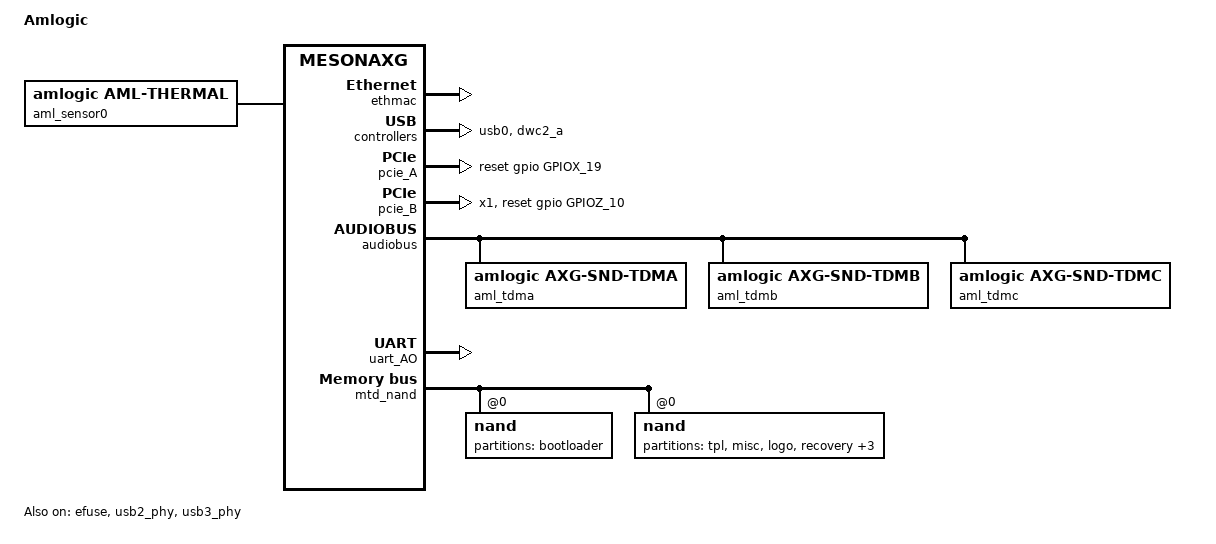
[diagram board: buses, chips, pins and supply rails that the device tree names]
// SPDX-License-Identifier: (GPL-2.0+ OR MIT)
/*
 * Copyright (c) 2019 Amlogic, Inc. All rights reserved.
 */

/dts-v1/;

#include "mesonaxg.dtsi"
/ {
	model = "Amlogic";
	amlogic-dt-id = "axg_s400_1g";
	compatible = "amlogic, axg";
	interrupt-parent = <&gic>;
	#address-cells = <2>;
	#size-cells = <2>;

	aliases {
		serial0 = &uart_AO;
		serial1 = &uart_A;
		i2c0 = &i2c0;
		i2c1 = &i2c1;
		i2c2 = &i2c2;
		i2c3 = &i2c3;
		i2c_AO = &i2c_AO;
	};

	memory@00000000 {
		device_type = "memory";
		linux,usable-memory = <0x0 0x000000 0x0 0x40000000>;
	};

	reserved-memory {
		#address-cells = <2>;
		#size-cells = <2>;
		ranges;
		/* global autoconfigured region for contiguous allocations */
		ramoops@0x07400000 {
			compatible = "ramoops";
			reg = <0x0 0x07400000 0x0 0x00100000>;
			record-size = <0x20000>;
			console-size = <0x40000>;
			ftrace-size = <0x80000>;
			pmsg-size = <0x20000>;
		};

		secmon_reserved:linux,secmon {
			compatible = "shared-dma-pool";
			reusable;
			size = <0x0 0x400000>;
			alignment = <0x0 0x400000>;
			alloc-ranges = <0x0 0x05000000 0x0 0x400000>;
		};

		secos_reserved:linux,secos {
			status = "disable";
			compatible = "amlogic, aml_secos_memory";
			reg = <0x0 0x05300000 0x0 0x2000000>;
			no-map;
		};
		fb_reserved:linux,meson-fb {
			//compatible = "amlogic, fb-memory";
			//reg = <0x0 0x3e000000 0x0 0x1f00000>;
			compatible = "shared-dma-pool";
			reusable;
			size = <0x0 0x2000000>;
			alignment = <0x0 0x400000>;
			alloc-ranges = <0x0 0x3e000000 0x0 0x2000000>;
		};
	};

	ethmac: ethernet@0xff3f0000 {
			compatible = "amlogic, gxbb-eth-dwmac";
			reg = <0x0 0xff3f0000 0x0 0x10000
			0x0 0xff634540 0x0 0x8
			0x0 0xff634558 0x0 0xc
			0x0 0xffd01008 0x0 0x4>;
			interrupts = <0 8 1>;
			pinctrl-names = "external_eth_pins";
			pinctrl-0 = <&external_eth_pins>;
			mc_val_internal_phy = <0x1800>;
			mc_val_external_phy = <0x1621>;
			interrupt-names = "macirq";
			//clocks = <&clkc CLKID_ETH_CORE>;
			//clock-names = "ethclk81";
			internal_phy=<0>;
	};

	aml_sensor0: aml-sensor@0 {
		compatible = "amlogic, aml-thermal";
		device_name = "thermal";
		#thermal-sensor-cells = <1>;
		cooling_devices {
			cpufreq_cool_cluster0 {
				min_state = <1000000>;
				dyn_coeff = <140>;
				cluster_id = <0>;
				node_name = "cpufreq_cool0";
				device_type = "cpufreq";
			};
			cpucore_cool_cluster0 {
				min_state = <1>;
				dyn_coeff = <0>;
				cluster_id = <0>;
				node_name = "cpucore_cool0";
				device_type = "cpucore";
			};
		};
		cpufreq_cool0:cpufreq_cool0 {
			#cooling-cells = <2>; /* min followed by max */
		};
		cpucore_cool0:cpucore_cool0 {
			#cooling-cells = <2>; /* min followed by max */
		};
	};
	thermal-zones {
		soc_thermal {
			polling-delay = <1000>;
			polling-delay-passive = <100>;
			sustainable-power = <1050>;

			thermal-sensors = <&aml_sensor0 3>;

			trips {
				switch_on: trip-point@0 {
					temperature = <70000>;
					hysteresis = <1000>;
					type = "passive";
				};
				control: trip-point@1 {
					temperature = <80000>;
					hysteresis = <1000>;
					type = "passive";
				};
				hot: trip-point@2 {
					temperature = <85000>;
					hysteresis = <5000>;
					type = "hot";
				};
				critical: trip-point@3 {
					temperature = <260000>;
					hysteresis = <1000>;
					type = "critical";
				};
			};

			cooling-maps {
				cpufreq_cooling_map {
					trip = <&control>;
					cooling-device = <&cpufreq_cool0 0 4>;
					contribution = <1024>;
				};
				cpucore_cooling_map {
					trip = <&control>;
					cooling-device = <&cpucore_cool0 0 3>;
					contribution = <1024>;
				};
			};
		};
	};

	usb2_phy: usb2phy@ffe09000 {
			compatible = "amlogic, amlogic-new-usb2";
			status = "okay";
			reg = <0x0 0xffe09000 0x0 0x80
				0x0 0xffd01008 0x0 0x4>;
			portnum = <4>;
	};

	usb3_phy: usb3phy@ffe09080 {
			compatible = "amlogic, amlogic-new-usb3";
			status = "okay";
			reg = <0x0 0xffe09080 0x0 0x20>;
			interrupts = <0 16 4>;
			portnum = <0>;
			otg = <1>;
			gpio-vbus-power = "GPIOAO_5";
			gpios = <&gpio_ao GPIOAO_5 GPIO_ACTIVE_HIGH>;
	};

	usb0: usb@ff500000 {
			compatible = "amlogic,meson-g12a-dwc3";
			status = "okay";
			#address-cells = <2>;
			#size-cells = <2>;
			ranges;

			clocks = <&clkc CLKID_CLK81_USB>;
			clock-names = "usb_general";

			dwc3: dwc3@ff500000 {
				compatible = "snps,dwc3";
				reg = <0x0 0xff500000 0x0 0x100000>;
				interrupts = <GIC_SPI 30 IRQ_TYPE_LEVEL_HIGH>;
				dr_mode = "host";
				maximum-speed = "high-speed";
				snps,dis_u2_susphy_quirk;
				snps,quirk-frame-length-adjustment;
				usb-phy = <&usb2_phy>, <&usb3_phy>;
				clocks = <&clkc CLKID_CLK81_USB>;
				clock-names = "usb_general";
				cpu-type = "gxl";
				/*usb5v-supply = <&ao_5v>;*/
				/*usb3v3-supply = <&vddao_3v3>;*/
				/*usb1v8-supply = <&vddio_ao1v8>;*/
			};
	};

	dwc2_a {
		compatible = "amlogic,dwc2";
		device_name = "dwc2_a";
		reg = <0x0 0xff400000 0x0 0x40000>;
		status = "okay";
		interrupts = <0 31 4>;
		pl-periph-id = <0>; /** lm name */
		clock-src = "usb0"; /** clock src */
		port-id = <0>;  /** ref to mach/usb.h */
		port-type = <2>;        /** 0: otg, 1: host, 2: slave */
		port-speed = <0>; /** 0: default, high, 1: full */
		port-config = <0>; /** 0: default */
		/*0:default,1:single,2:incr,3:incr4,4:incr8,5:incr16,6:disable*/
		port-dma = <0>;
		port-id-mode = <0>; /** 0: hardware, 1: sw_host, 2: sw_slave*/
		usb-fifo = <728>;
		cpu-type = "gxl";
		/** 0: normal, 1: otg+dwc3 host only, 2: otg+dwc3 device only*/
		controller-type = <3>;
		phy-reg = <0xffe09000>;
		phy-reg-size = <0xa0>;
		clocks = <&clkc CLKID_CLK81_USB
			&clkc CLKID_CLK81_USB1_DDR_BRIDGE
			&clkc CLKID_CLK81_USB1>;
		clock-names = "usb_general",
			"usb1",
			"usb1_to_ddr";
	};

	pcie_A: pcie@f9800000 {
		compatible = "amlogic, amlogic-pcie";
		reg = <0x0 0xf9800000 0x0 0x400000
				0x0 0xff646000 0x0 0x2000
				0x0 0xf9f00000 0x0 0x100000
				0x0 PCIE_PHY_REG 0x0 PCIE_PHY_SIZE
				0x0 PCIE_RESET_REG 0x0 PCIE_RESET_SIZE>;
		reg-names = "elbi", "cfg", "config", "phy", "reset";
		reset-gpio = <&gpio GPIOX_19 GPIO_ACTIVE_HIGH>;
		interrupts = <0 177 0>;
		#interrupt-cells = <1>;
		interrupt-map-mask = <0 0 0 0>;
		interrupt-map = <0 0 0 0 &gic GIC_SPI 179 IRQ_TYPE_EDGE_RISING>;
		bus-range = <0x0 0xff>;
		#address-cells = <3>;
		#size-cells = <2>;
		device_type = "pci";
		ranges = <0x82000000 0 0 0x0 0xf9c00000 0 0x00300000>;
			/* non-prefetchable memory */
		pcie-num = <1>;
		clocks = <&clkc CLKID_CLK81_USB
		&clkc CLKID_PCIE_PLL
		&clkc CLKID_CLK81_MIPI_ENABLE
		&clkc CLKID_CLK81_MIPI_BANDGAP
		&clkc CLKID_CLK81_PCIE_A
		&clkc CLKID_PCIE_CML_EN0>;
		clock-names = "pcie_general",
				"pcie_refpll",
				"pcie_mipi_enable_gate",
				"pcie_mipi_bandgap_gate",
				"pcie",
				"port";
		/*reset-gpio-type 0:Shared pad(no reset)1:OD pad2:Normal pad*/
		gpio-type = <2>;
		status = "okay";
	};

	pcie_B: pcie@fa000000 {
		compatible = "amlogic, amlogic-pcie", "snps,dw-pcie";
		reg = <0x0 0xfa000000 0x0 0x400000
				0x0 0xff648000 0x0 0x2000
				0x0 0xfa400000 0x0 0x100000
				0x0 PCIE_PHY_REG 0x0 PCIE_PHY_SIZE
				0x0 PCIE_RESET_REG 0x0 PCIE_RESET_SIZE>;
		reg-names = "elbi", "cfg", "config", "phy", "reset";
		reset-gpio = <&gpio GPIOZ_10 GPIO_ACTIVE_HIGH>;
		interrupts = <0 167 0>;
		#interrupt-cells = <1>;
		bus-range = <0x0 0xff>;
		#address-cells = <3>;
		#size-cells = <2>;
		interrupt-map-mask = <0 0 0 0>;
		interrupt-map = <0 0 0 0 &gic GIC_SPI 169 IRQ_TYPE_EDGE_RISING>;
		device_type = "pci";
		ranges = <0x81000000 0 0 0 0xfa500000 0x0 0x10000
			/* downstream I/O */
			0x82000000 0 0xfa510000 0x0 0xfa510000 0 0x002f0000>;
			/* non-prefetchable memory */
		num-lanes = <1>;
		pcie-num = <2>;
		clocks = <&clkc CLKID_CLK81_USB
				&clkc CLKID_PCIE_PLL
				&clkc CLKID_CLK81_MIPI_ENABLE
				&clkc CLKID_CLK81_MIPI_BANDGAP
				&clkc CLKID_CLK81_PCIE_B
				&clkc CLKID_PCIE_CML_EN1>;
		clock-names = "pcie_general",
				"pcie_refpll",
				"pcie_mipi_enable_gate",
				"pcie_mipi_bandgap_gate",
				"pcie",
				"port";
		/*reset-gpio-type 0:Shared pad(no reset)1:OD pad2:Normal pad*/
		gpio-type = <1>;
		status = "okay";
	};

	uart_A: serial@ffd24000 {
		compatible = "amlogic, meson-uart";
		reg = <0x0 0xffd24000 0x0 0x18>;
		interrupts = <0 26 1>;
		status = "disabled";
		//clocks = <&xtal
		//	&clkc CLKID_UART0>;
		//clock-names = "clk_uart",
		//	"clk_gate";
		fifosize = < 128 >;
		pinctrl-names = "default";
		pinctrl-0 = <&a_uart_pins>;
	};

	uart_B: serial@ffd23000 {
		compatible = "amlogic, meson-uart";
		reg = <0x0 0xffd23000 0x0 0x18>;
		interrupts = <0 75 1>;
		status = "disable";
		//clocks = <&xtal
		//	&clkc CLKID_UART1>;
		//clock-names = "clk_uart",
		//	"clk_gate";
		fifosize = < 64 >;
		pinctrl-names = "default";
		pinctrl-0 = <&b_uart_pins>;
	};

	vpu {
		compatible = "amlogic, vpu-axg";
		dev_name = "vpu";
		status = "disabled";
/*
		clocks = <&clkc CLKID_VAPB_MUX>,
			<&clkc CLKID_VPU_INTR>,
			<&clkc CLKID_VPU_P0_COMP>,
			<&clkc CLKID_VPU_P1_COMP>,
			<&clkc CLKID_VPU_MUX>;
		clock-names = "vapb_clk",
			"vpu_intr_gate",
			"vpu_clk0",
			"vpu_clk1",
			"vpu_clk";
*/
		clk_level = <3>;
		/* 0: 100.0M    1: 166.7M    2: 200.0M    3: 250.0M */
	};

	vout {
		compatible = "amlogic, vout";
		dev_name = "vout";
		status = "disabled";
	};

	/* Audio Related start */
	/* Sound iomap */
	aml_snd_iomap {
		compatible = "amlogic, snd-iomap";
		status = "disabled";
		#address-cells=<2>;
		#size-cells=<2>;
		ranges;
		pdm_bus {
			reg = <0x0 0xFF632000 0x0 0x2000>;
		};
		audiobus_base {
			reg = <0x0 0xFF642000 0x0 0x2000>;
		};
		audiolocker_base {
			reg = <0x0 0xFF64A000 0x0 0x2000>;
		};
	};
	pdm_codec:dummy{
		#sound-dai-cells = <0>;
		compatible = "amlogic, pdm_dummy_codec";
		status = "disabled";
	};
	dummy_codec:dummy{
		#sound-dai-cells = <0>;
		compatible = "amlogic, aml_dummy_codec";
		status = "disabled";
	};

	auge_sound {
		compatible = "amlogic, axg-sound-card";
		aml-audio-card,name = "AML-AUGESOUND";

		aml-audio-card,dai-link@0 {
			format = "dsp_a";
			mclk-fs = <512>;
			//continuous-clock;
			//bitclock-inversion;
			//frame-inversion;
			//bitclock-master = <&tdmacodec>;
			//frame-master = <&tdmacodec>;
			tdmacpu: cpu {
				sound-dai = <&aml_tdma>;
				dai-tdm-slot-tx-mask =
							<1 1 1 1 1 1 1 1>;
				dai-tdm-slot-rx-mask =
							<1 1 1 1 1 1 1 1>;
				dai-tdm-slot-num = <8>;
				dai-tdm-slot-width = <32>;
				system-clock-frequency = <24576000>;
			};
			tdmacodec: codec {
				sound-dai = <&dummy_codec &dummy_codec>;
			};
		};

		aml-audio-card,dai-link@1 {
			format = "i2s";
			mclk-fs = <256>;
			//continuous-clock;
			//bitclock-inversion;
			//frame-inversion;
			bitclock-master = <&aml_tdmb>;
			frame-master = <&aml_tdmb>;
			cpu {
				sound-dai = <&aml_tdmb>;
				dai-tdm-slot-tx-mask = <1 1>;
				dai-tdm-slot-rx-mask = <1 1>;
				dai-tdm-slot-num = <2>;
				dai-tdm-slot-width = <32>;
				system-clock-frequency = <12288000>;
			};
			codec {
				/*
				 * prefix-names = "3101_A", "3101_B",
				 * "3101_C", "3101_D";
				 * sound-dai = <&tlv320adc3101_19
				 * &tlv320adc3101_18
				 * &tlv320adc3101_1a
				 * &tlv320adc3101_1b>;
				 */
				sound-dai = <&tlv320adc3101_19 &dummy_codec>;
			};
		};

		aml-audio-card,dai-link@2 {
			format = "i2s";
			mclk-fs = <256>;
			//continuous-clock;
			//bitclock-inversion;
			//frame-inversion;
			//bitclock-master = <&aml_tdmc>;
			//frame-master = <&aml_tdmc>;
			cpu {
				sound-dai = <&aml_tdmc>;
				dai-tdm-slot-tx-mask = <1 1>;
				dai-tdm-slot-rx-mask = <1 1>;
				dai-tdm-slot-num = <2>;
				dai-tdm-slot-width = <32>;
				system-clock-frequency = <12288000>;
			};
			codec {
				prefix-names = "5707_A", "5707_B";
				sound-dai = <&tas5707_1b &tas5707_1d
						&dummy_codec>;
			};
		};

		aml-audio-card,dai-link@3 {
			mclk-fs = <256>;
			cpu {
				sound-dai = <&aml_pdm>;
			};
			codec {
				sound-dai = <&pdm_codec>;
			};
		};

		aml-audio-card,dai-link@4 {
			mclk-fs = <128>;
			cpu {
				sound-dai = <&aml_spdif>;
				system-clock-frequency = <6144000>;
			};
			codec {
				sound-dai = <&dummy_codec>;
			};
		};

		aml-audio-card,dai-link@5 {
			mclk-fs = <256>;
			continuous-clock;
			suffix-name = "alsaPORT-loopback";
			cpu {
				sound-dai = <&loopback>;
				system-clock-frequency = <12288000>;
			};
			codec {
				sound-dai = <&dummy_codec>;
			};
		};
	};

	audiolocker: locker {
		compatible = "amlogic, audiolocker";
		clocks = <&clkaudio CLKID_AUDIO_LOCKER_OUT
				&clkaudio CLKID_AUDIO_LOCKER_IN
				&clkaudio CLKID_AUDIO_MCLK_D
				&clkaudio CLKID_AUDIO_MCLK_E
				&clkc CLKID_MPLL1
				&clkc CLKID_MPLL2>;
		clock-names = "lock_out", "lock_in", "out_src",
					"in_src", "out_calc", "in_ref";
		interrupts = <GIC_SPI 1 IRQ_TYPE_EDGE_RISING>;
		interrupt-names = "irq";
		frequency = <49000000>; /* pll */
		dividor = <49>; /* locker's parent */
		status = "disabled";
	};
	/* Audio Related end */

	bt-dev{
		compatible = "amlogic, bt-dev";
		dev_name = "bt-dev";
		status = "disabled";
		gpio_reset = <&gpio       GPIOX_21       GPIO_ACTIVE_HIGH>;
	};

	wifi{
		compatible = "amlogic, aml_wifi";
		dev_name = "aml_wifi";
		status = "disabled";
		interrupt_pin = <&gpio       GPIOX_6       GPIO_ACTIVE_HIGH>;
		interrupts = <	0 67 4>;
		irq_trigger_type = "GPIO_IRQ_LOW";
		power_on_pin2 = <&gpio       GPIOX_16       GPIO_ACTIVE_HIGH>;
		power_on_pin = <&gpio       GPIOX_7       GPIO_ACTIVE_HIGH>;
		dhd_static_buf;	//if use bcm wifi, config dhd_static_buf
		pinctrl-names = "default";
		pinctrl-0 = <&wifi_32k_pins>;
		pwm_config = <&wifi_pwm_conf>;
	};

	wifi_pwm_conf:wifi_pwm_conf{
		pwm_channel1_conf {
			pwms = <&pwm_ab MESON_PWM_0 30541 0>;
			duty-cycle = <15270>;
			times = <10>;
		};
		pwm_channel2_conf {
			pwms = <&pwm_ab MESON_PWM_2 30500 0>;
			duty-cycle = <15250>;
			times = <12>;
		};
	};

	sd_emmc_c: emmc@ffe07000 {
		status = "disabled";
		compatible = "amlogic, meson-mmc-axg";
		reg = <0x0 0xffe07000 0x0 0x2000>;
		interrupts = <0 218 1>;
		pinctrl-names = "emmc_clk_cmd_pins", "emmc_all_pins";
		pinctrl-0 = <&emmc_clk_cmd_pins>;
		pinctrl-1 = <&emmc_conf_pull_up &emmc_conf_pull_done>;
		//clocks = <&clkc CLKID_SD_EMMC_C>,
		//	   <&clkc CLKID_SD_EMMC_C_P0_COMP>,
		//	   <&clkc CLKID_FCLK_DIV2>,
		//	   <&clkc CLKID_FCLK_DIV5>,
		//	   <&xtal>;
		//clock-names = "core", "clkin0", "clkin1", "clkin2", "xtal";

		bus-width = <8>;
		cap-sd-highspeed;
		cap-mmc-highspeed;
		mmc-ddr-1_8v;
		mmc-hs200-1_8v;

		max-frequency = <200000000>;
		non-removable;
		disable-wp;
		emmc {
			pinname = "emmc";
			ocr_avail = <0x200080>; /**VDD voltage 3.3 ~ 3.4 */
			caps = "MMC_CAP_8_BIT_DATA",
				 "MMC_CAP_MMC_HIGHSPEED",
				 "MMC_CAP_SD_HIGHSPEED",
				 "MMC_CAP_NONREMOVABLE",
				 "MMC_CAP_1_8V_DDR",
				 "MMC_CAP_HW_RESET",
				 "MMC_CAP_ERASE",
				 "MMC_CAP_CMD23";
			caps2 = "MMC_CAP2_HS200", "MMC_CAP2_HS400";
			f_min = <400000>;
			f_max = <200000000>;
			max_req_size = <0x20000>; /**128KB*/
			gpio_dat3 = <&gpio BOOT_3 GPIO_ACTIVE_HIGH>;
			hw_reset = <&gpio BOOT_9 GPIO_ACTIVE_HIGH>;
			card_type = <1>;
			/* 1:mmc card(include eMMC),
			 * 2:sd card(include tSD)
			 */
		};
	};

	sd_emmc_b:sdio@ffe05000 {
		status = "disabled";
		compatible = "amlogic, meson-mmc-axg";
		reg = <0x0 0xffe05000 0x0 0x2000>;
		interrupts = <0 217 4>;
		pinctrl-names = "sdio_clk_cmd_pins", "sdio_all_pins";
		pinctrl-0 = <&sdio_clk_cmd_pins>;
		pinctrl-1 = <&sdio_all_pins>;
		//clocks = <&clkc CLKID_SD_EMMC_B>,
		//	   <&clkc CLKID_SD_EMMC_B_P0_COMP>,
		//	   <&clkc CLKID_FCLK_DIV2>,
		//	   <&clkc CLKID_FCLK_DIV5>,
		//	   <&xtal>;
		//clock-names = "core", "clkin0", "clkin1", "clkin2", "xtal";

		bus-width = <4>;
		cap-sd-highspeed;
		cap-mmc-highspeed;
		max-frequency = <100000000>;
		non-removable;
		disable-wp;
		sdio {
			pinname = "sdio";
			ocr_avail = <0x200080>; /**VDD voltage 3.3 ~ 3.4 */
			caps = "MMC_CAP_4_BIT_DATA",
				 "MMC_CAP_MMC_HIGHSPEED",
				 "MMC_CAP_SD_HIGHSPEED",
				 "MMC_CAP_NONREMOVABLE",
				 "MMC_CAP_UHS_SDR12",
				 "MMC_CAP_UHS_SDR25",
				 "MMC_CAP_UHS_SDR50",
				 "MMC_CAP_UHS_SDR104",
				 "MMC_PM_KEEP_POWER",
				 "MMC_CAP_SDIO_IRQ";
			f_min = <400000>;
			f_max = <200000000>;
			max_req_size = <0x20000>; /**128KB*/
			card_type = <3>;
			/* 3:sdio device(ie:sdio-wifi),
			 * 4:SD combo (IO+mem) card
			 */
		};
	};

	partitions: partitions{
		parts = <11>;
		part-0 = <&logo>;
		part-1 = <&recovery>;
		part-2 = <&rsv>;
		part-3 = <&tee>;
		part-4 = <&crypt>;
		part-5 = <&misc>;
		part-6 = <&instaboot>;
		part-7 = <&boot>;
		part-8 = <&system>;
		part-9 = <&cache>;
		part-10 = <&data>;

		logo:logo{
			pname = "logo";
			size = <0x0 0x2000000>;
			mask = <1>;
		};
		recovery:recovery{
			pname = "recovery";
			size = <0x0 0x2000000>;
			mask = <1>;
		};
		rsv:rsv{
			pname = "rsv";
			size = <0x0 0x800000>;
			mask = <1>;
		};
		tee:tee{
			pname = "tee";
			size = <0x0 0x800000>;
			mask = <1>;
		};
		crypt:crypt{
			pname = "crypt";
			size = <0x0 0x2000000>;
			mask = <1>;
		};
		misc:misc{
			pname = "misc";
			size = <0x0 0x2000000>;
			mask = <1>;
		};
		instaboot:instaboot{
			pname = "instaboot";
			size = <0x0 0x400000>;
			mask = <1>;
		};
		boot:boot
		{
			pname = "boot";
			size = <0x0 0x2000000>;
			mask = <1>;
		};
		system:system
		{
			pname = "system";
			size = <0x0 0x80000000>;
			mask = <1>;
		};
		cache:cache
		{
			pname = "cache";
			size = <0x0 0x20000000>;
			mask = <2>;
		};
		data:data
		{
			pname = "data";
			size = <0xffffffff 0xffffffff>;
			mask = <4>;
		};
	};

	meson-fb {
		compatible = "amlogic, meson-axg";
		memory-region = <&fb_reserved>;
		dev_name = "meson-fb";
		status = "disabled";
		interrupts = <0 3 1
			0 89 1>;
		interrupt-names = "viu-vsync", "rdma";
		mem_size = <0x00300000 0x1800000 0x00000000>;
		/* uboot logo,fb0/fb1 memory size */
		display_mode_default = "1080p60hz";
		scale_mode = <0>;
		/** 0:VPU free scale 1:OSD free scale 2:OSD super scale */
		display_size_default = <768 1024 768 2048 32>;
		/*768*1024*4*2 = 0x600000*/
		mem_alloc = <1>;
		logo_addr = "0x3e000000";
		pxp_mode = <0>; /** 0:normal mode 1:pxp mode */
	};

	ge2d {
		compatible = "amlogic, ge2d-axg";
		dev_name = "ge2d";
		status = "disabled";
		interrupts = <0 150 1>;
		interrupt-names = "ge2d";
		//clocks = <&clkc CLKID_VAPB_MUX>,
		//	<&clkc CLKID_G2D>,
		//	<&clkc CLKID_GE2D_GATE>;
		//clock-names = "clk_vapb_0",
		//	"clk_ge2d",
		//	"clk_ge2d_gate";
		reg = <0x0 0xff940000 0x0 0x10000>;
	};

	adc_keypad {
		compatible = "amlogic, adc_keypad";
		status = "disabled";
		key_name = "power", "vol-", "vol+", "wifi", "<<", ">>";
		key_num = <6>;
		io-channels = <&saradc SARADC_CH0>;
		io-channel-names = "key-chan-0";
		key_chan = <SARADC_CH0 SARADC_CH0 SARADC_CH0
					SARADC_CH0 SARADC_CH0 SARADC_CH0>;
		key_code = <116 114 115 139 105 106>;
		key_val = <0 143 266 389 512 635>; //val=voltage/1800mV*1023
		key_tolerance = <40 40 40 40 40 40>;
	};

	unifykey{
		compatible = "amlogic,unifykey";
		status = "okay";
		unifykey-num = <19>;
		unifykey-index-0 = <&keysn_0>;
		unifykey-index-1 = <&keysn_1>;
		unifykey-index-2 = <&keysn_2>;
		unifykey-index-3 = <&keysn_3>;
		unifykey-index-4 = <&keysn_4>;
		unifykey-index-5 = <&keysn_5>;
		unifykey-index-6 = <&keysn_6>;
		unifykey-index-7 = <&keysn_7>;
		unifykey-index-8 = <&keysn_8>;
		unifykey-index-9 = <&keysn_9>;
		unifykey-index-10= <&keysn_10>;
		unifykey-index-11= <&keysn_11>;
		unifykey-index-12= <&keysn_12>;
		unifykey-index-13= <&keysn_13>;
		unifykey-index-14= <&keysn_14>;
		unifykey-index-15= <&keysn_15>;
		unifykey-index-16= <&keysn_16>;
		unifykey-index-17= <&keysn_17>;
		unifykey-index-18= <&keysn_18>;

		keysn_0: key_0{
			key-name = "usid";
			key-device = "normal";
			key-permit = "read","write","del";
		};
		keysn_1:key_1{
			key-name = "mac";
			key-device = "normal";
			key-permit = "read","write","del";
		};
		keysn_2:key_2{
			key-name = "hdcp";
			key-device = "secure";
			key-type = "sha1";
			key-permit = "read","write","del";
		};
		keysn_3:key_3{
			key-name = "secure_boot_set";
			key-device = "efuse";
			key-permit = "write";
		};
		keysn_4:key_4{
			key-name = "mac_bt";
			key-device = "normal";
			key-permit = "read","write","del";
			key-type  = "mac";
		};
		keysn_5:key_5{
			key-name = "mac_wifi";
			key-device = "normal";
			key-permit = "read","write","del";
			key-type = "mac";
		};
		keysn_6:key_6{
			key-name = "hdcp2_tx";
			key-device = "normal";
			key-permit = "read","write","del";
		};
		keysn_7:key_7{
			key-name = "hdcp2_rx";
			key-device = "normal";
			key-permit = "read","write","del";
		};
		keysn_8:key_8{
			key-name = "widevinekeybox";
			key-device = "secure";
			key-permit = "read","write","del";
		};
		keysn_9:key_9{
			key-name = "deviceid";
			key-device = "normal";
			key-permit = "read","write","del";
		};
		keysn_10:key_10{
			key-name = "hdcp22_fw_private";
			key-device = "secure";
			key-permit = "read","write","del";
		};
		keysn_11:key_11{
			key-name = "PlayReadykeybox25";
			key-device = "secure";
			key-permit = "read","write","del";
		};
		keysn_12:key_12{
			key-name = "prpubkeybox";// PlayReady
			key-device = "secure";
			key-permit = "read","write","del";
		};
		keysn_13:key_13{
			key-name = "prprivkeybox";// PlayReady
			key-device = "secure";
			key-permit = "read","write","del";
		};
		keysn_14:key_14{
			key-name = "attestationkeybox";// attestation key
			key-device = "secure";
			key-permit = "read","write","del";
		};
		keysn_15:key_15{
			key-name = "region_code";
			key-device = "normal";
			key-permit = "read","write","del";
		};
		keysn_16:key_16{
			key-name = "netflix_mgkid";
			key-device = "secure";
			key-permit = "read","write","del";
		};
		keysn_17:key_17{
			key-name = "attestationdevidbox";// attest dev id box
			key-device = "secure";
			key-permit = "read","write","del";
		};
		keysn_18:key_18{
			key-name = "oemkey";
			key-device = "normal";
			key-permit = "read","write","del";
		};
	};//End unifykey

}; /* end of / */
&efuse {
	status = "ok";
};

&pwm_ab {
	status = "disabled";
};

/* Audio Related start */
/* for spk board */
&i2c1 {
	status = "disabled";
	pinctrl-names="default";
	pinctrl-0=<&b_i2c_master>;

	tlv320adc3101_19: tlv320adc3101_19@19 {
		compatible = "ti,tlv320adc3101";
		#sound-dai-cells = <0>;
		reg = <0x19>;
		differential_pair = <1>;
		status = "disabled";
	};

	tas5707_1b: tas5707_1b@1b {
		compatible = "ti,tas5707";
		#sound-dai-cells = <0>;
		reg = <0x1b>;
		status = "disabled";
		reset_pin = <&gpio_ao GPIOAO_4 0>;
	};

	tas5707_1d: tas5707_1d@1d {
		compatible = "ti,tas5707";
		#sound-dai-cells = <0>;
		reg = <0x1d>;
		status = "disabled";
	};
};

/* for mic board */
&i2c_AO {
	status = "disabled";
	pinctrl-names="default";
	pinctrl-0=<&ao_i2c_master_pin2>;

	aml_pca9557: aml_pca9557@1f {
		compatible = "aml, ledring";
		reg = <0x1f>;
		mode = <0>; /*0: 6-led 1: 4key+2led */
		key_num = <4>;
		led_dev_name = "aml_ledring";
		key_dev_name = "aml_pca_key";
		key_name = "mute", "pause", "vol+", "vol-";
		key_value = <200 201 202 203>;
		status = "disabled";
	};

	tlv320adc3101_18: tlv320adc3101_18@18 {
		compatible = "ti,tlv320adc3101";
		#sound-dai-cells = <0>;
		reg = <0x18>;
		status = "disable";
	};
	tlv320adc3101_1a: tlv320adc3101_1a@1a {
		compatible = "ti,tlv320adc3101";
		#sound-dai-cells = <0>;
		reg = <0x1a>;
		status = "disable";
	};
	tlv320adc3101_1b: tlv320adc3101_1b@1b {
		compatible = "ti,tlv320adc3101";
		#sound-dai-cells = <0>;
		reg = <0x1b>;
		status = "disable";
	};
	es7243_10: es7243_10@10 {
		compatible = "MicArray_0";
		#sound-dai-cells = <0>;
		reg = <0x10>;
		status = "disable";
	};
	es7243_12: es7243_12@12 {
		compatible = "MicArray_1";
		#sound-dai-cells = <0>;
		reg = <0x12>;
		status = "disable";
	};
	es7243_13: es7243_13@13 {
		compatible = "MicArray_2";
		#sound-dai-cells = <0>;
		reg = <0x13>;
		status = "disable";
	};
	is31fl3236a: is31f3236a@3c {
			compatible = "issi,is31fl3236";
			reg = <0x3c>;
			status = "disable";
			led1_r {
					label="LED1_R";
					reg_offset = <24>;
			};
			led1_g {
					label="LED1_G";
					reg_offset = <23>;
			};
			led1_b {
					label="LED1_B";
					reg_offset = <22>;
			};
			led2_r {
					label="LED2_R";
					reg_offset = <21>;
			};
			led2_g {
					label="LED2_G";
					reg_offset = <20>;
			};
			led2_b {
					label="LED2_B";
					reg_offset = <19>;
			};
			led3_r {
					label="LED3_R";
					reg_offset = <18>;
			};
			led3_g {
					label="LED3_G";
					reg_offset = <17>;
			};
			led3_b {
					label="LED3_B";
					reg_offset = <16>;
			};
			led4_r {
					label="LED4_R";
					reg_offset = <15>;
			};
			led4_g {
					label="LED4_G";
					reg_offset = <14>;
			};
			led4_b {
					label="LED4_B";
					reg_offset = <13>;
			};
			led5_r {
					label="LED5_R";
					reg_offset = <36>;
			};
			led5_g {
					label="LED5_G";
					reg_offset = <35>;
			};
			led5_b {
					label="LED5_B";
					reg_offset = <34>;
			};
			led6_r {
					label="LED6_R";
					reg_offset = <33>;
			};
			led6_g {
					label="LED6_G";
					reg_offset = <32>;
			};
			led6_b {
					label="LED6_B";
					reg_offset = <31>;
			};
			led7_r {
					label="LED7_R";
					reg_offset = <30>;
			};
			led7_g {
					label="LED7_G";
					reg_offset = <29>;
			};
			led7_b {
					label="LED7_B";
					reg_offset = <28>;
			};
			led8_r {
					label="LED8_R";
					reg_offset = <27>;
			};
			led8_g {
					label="LED8_G";
					reg_offset = <26>;
			};
			led8_b {
					label="LED8_B";
					reg_offset = <25>;
			};
	};
};

&audiobus {
	aml_tdma: tdma {
		compatible = "amlogic, axg-snd-tdma";
		#sound-dai-cells = <0>;
		dai-tdm-lane-slot-mask-in = <1 0>;
		dai-tdm-lane-slot-mask-out = <0 1>;
		dai-tdm-clk-sel = <0>;
		clocks = <&clkaudio CLKID_AUDIO_MCLK_A
				&clkc CLKID_MPLL0>;
		clock-names = "mclk", "clk_srcpll";
		pinctrl-names = "tdm_pins";
		pinctrl-0 = <&tdmout_a &tdmin_a &tdmout_a_data>;
	};

	aml_tdmb: tdmb {
		compatible = "amlogic, axg-snd-tdmb";
		#sound-dai-cells = <0>;
		dai-tdm-lane-slot-mask-in = <1 1 1 1>;
		dai-tdm-clk-sel = <1>;
		clocks = <&clkaudio CLKID_AUDIO_MCLK_B
				&clkc CLKID_MPLL1>;
		clock-names = "mclk", "clk_srcpll";
		pinctrl-names = "tdm_pins";
		pinctrl-0 = <&tdmb_mclk &tdmout_b &tdmin_b>;
	};

	aml_tdmc: tdmc {
		compatible = "amlogic, axg-snd-tdmc";
		#sound-dai-cells = <0>;
		dai-tdm-lane-slot-mask-in = <0 1 0 0>;
		dai-tdm-lane-slot-mask-out = <1 0 1 1>;
		#dai-tdm-lane-oe-slot-mask-in = <0 0 0 0>;
		#dai-tdm-lane-oe-slot-mask-out = <1 0 0 0>;
		dai-tdm-clk-sel = <2>;
		clocks = <&clkaudio CLKID_AUDIO_MCLK_C
				&clkc CLKID_MPLL2>;
		clock-names = "mclk", "clk_srcpll";
		pinctrl-names = "tdm_pins";
		pinctrl-0 = <&tdmc_mclk &tdmout_c &tdmin_c>;
	};

	tdmlb:tdm@3 {
		compatible = "amlogic, axg-snd-tdmlb";
		#sound-dai-cells = <0>;

		dai-tdm-lane-lb-slot-mask-in = <1 0 0 0>;
		dai-tdm-clk-sel = <1>;

		clocks = <&clkaudio CLKID_AUDIO_MCLK_B
				&clkc CLKID_MPLL1>;
		clock-names = "mclk", "clk_srcpll";

		/*
		 * select tdmin_lb src;
		 * AXG
		 *  0: TDMOUTA
		 *  1: TDMOUTB
		 *  2: TDMOUTC
		 *  3: PAD_TDMINA
		 *  4: PAD_TDMINB
		 *  5: PAD_TDMINC
		 *
		 * G12A/G12B
		 *  0: TDMOUTA
		 *  1: TDMOUTB
		 *  2: TDMOUTC
		 *  3: PAD_TDMINA_DIN*
		 *  4: PAD_TDMINB_DIN*
		 *  5: PAD_TDMINC_DIN*
		 *  6: PAD_TDMINA_D*, oe pin
		 *  7: PAD_TDMINB_D*, oe pin
		 *
		 * TL1
		 *  0: TDMOUTA
		 *  1: TDMOUTB
		 *  2: TDMOUTC
		 *  3: PAD_TDMINA_DIN*
		 *  4: PAD_TDMINB_DIN*
		 *  5: PAD_TDMINC_DIN*
		 *  6: PAD_TDMINA_D*
		 *  7: PAD_TDMINB_D*
		 *  8: PAD_TDMINC_D*
		 *  9: HDMIRX_I2S
		 *  10: ACODEC_ADC
		 */
		lb-src-sel = <1>;

		status = "disabled";
	};

	aml_spdif: spdif {
		compatible = "amlogic, axg-snd-spdif";
		#sound-dai-cells = <0>;
		clocks = <&clkc CLKID_MPLL0
				&clkc CLKID_FCLK_DIV4
				&clkaudio CLKID_AUDIO_SPDIFIN
				&clkaudio CLKID_AUDIO_SPDIFOUT
				&clkaudio CLKID_AUDIO_SPDIFIN_CTRL
				&clkaudio CLKID_AUDIO_SPDIFOUT_CTRL>;
		clock-names = "sysclk", "fixed_clk", "gate_spdifin",
				"gate_spdifout", "clk_spdifin", "clk_spdifout";
		interrupts =
				<GIC_SPI 87 IRQ_TYPE_EDGE_RISING>;

		interrupt-names = "irq_spdifin";
		pinctrl-names = "spdif_pins";
		pinctrl-0 = <&spdifout &spdifin>;

		/*
		 * whether do asrc for pcm.
		 * if raw data, asrc is disabled automatically
		 * 0: "Disable",
		 * 1: "Enable:32K",
		 * 2: "Enable:44K",
		 * 3: "Enable:48K",
		 * 4: "Enable:88K",
		 * 5: "Enable:96K",
		 * 6: "Enable:176K",
		 * 7: "Enable:192K",
		 */
		auto_asrc = <0>;
		status = "disabled";
	};
	aml_pdm: pdm {
		compatible = "amlogic, axg-snd-pdm";
		#sound-dai-cells = <0>;
		clocks = <&clkaudio CLKID_AUDIO_PDM
			&clkc CLKID_FCLK_DIV3
			&clkc CLKID_MPLL3
			&clkaudio CLKID_AUDIO_PDMIN0
			&clkaudio CLKID_AUDIO_PDMIN1>;
		clock-names = "gate",
			"sysclk_srcpll",
			"dclk_srcpll",
			"pdm_dclk",
			"pdm_sysclk";
		pinctrl-names = "pdm_pins";
		pinctrl-0 = <&pdmin>;
		filter_mode = <1>; /* mode 0~4, defalut:1 */
		status = "disabled";
	};

	loopback:loopback@0 {
		compatible = "amlogic, axg-loopback";
		#sound-dai-cells = <0>;

		clocks = <&clkaudio CLKID_AUDIO_PDM
			&clkc CLKID_FCLK_DIV3
			&clkc CLKID_MPLL3
			&clkaudio CLKID_AUDIO_PDMIN0
			&clkaudio CLKID_AUDIO_PDMIN1
			&clkc CLKID_MPLL0
			&clkaudio CLKID_AUDIO_MCLK_A>;
		clock-names = "pdm_gate",
			"pdm_sysclk_srcpll",
			"pdm_dclk_srcpll",
			"pdm_dclk",
			"pdm_sysclk",
			"tdminlb_mpll",
			"tdminlb_mclk";

		/* datain src
		 * 0: tdmin_a;
		 * 1: tdmin_b;
		 * 2: tdmin_c;
		 * 3: spdifin;
		 * 4: pdmin;
		 */
		datain_src = <4>;
		datain_chnum = <6>;
		datain_chmask = <0x3f>;
		/* config which data pin for loopback */
		datain-lane-mask-in = <1 1 1 0>;

		/* calc mclk for datalb */
		mclk-fs = <256>;

		/* tdmin_lb src
		 * 0: tdmoutA
		 * 1: tdmoutB
		 * 2: tdmoutC
		 * 3: PAD_TDMINA_DIN*, refer to core pinmux
		 * 4: PAD_TDMINB_DIN*, refer to core pinmux
		 * 5: PAD_TDMINC_DIN*, refer to core pinmux
		 * 6: PAD_TDMINA_D*, oe, refer to core pinmux
		 * 7: PAD_TDMINB_D*, oe, refer to core pinmux
		 */
		/* if tdmin_lb >= 3, use external loopback */
		datalb_src = <2>;
		datalb_chnum = <2>;
		datalb_chmask = <0x3>;
		/* config which data pin as loopback */
		datalb-lane-mask-in = <1 0 0 0>;

		status = "disabled";
	};

	audioresample: resample {
		compatible = "amlogic, axg-resample";
		clocks = <&clkc CLKID_MPLL3
				&clkaudio CLKID_AUDIO_MCLK_F
				&clkaudio CLKID_AUDIO_RESAMPLE_CTRL>;
		clock-names = "resample_pll", "resample_src", "resample_clk";
		/*same with toddr_src
		 *	TDMIN_A,
		 *	TDMIN_B,
		 *	TDMIN_C,
		 *	SPDIFIN,
		 *	PDMIN,
		 *	NONE,
		 *	TDMIN_LB,
		 *	LOOPBACK,
		 */
		resample_module = <3>;
		status = "disabled";
	};
	aml_pwrdet: pwrdet {
		compatible = "amlogic, axg-power-detect";

		interrupts = <GIC_SPI 91 IRQ_TYPE_EDGE_RISING>;
		interrupt-names = "pwrdet_irq";

		/* pwrdet source sel
		 * 7: loopback;
		 * 6: tdmin_lb;
		 * 5: reserved;
		 * 4: pdmin;
		 * 3: spdifin;
		 * 2: tdmin_c;
		 * 1: tdmin_b;
		 * 0: tdmin_a;
		 */
		pwrdet_src = <4>;

		hi_th = <0x70000>;
		lo_th = <0x16000>;

		status = "disabled";
	};
}; /* end of audiobus */

&pinctrl_periphs {
	tdmout_a: tdmout_a {
		mux {
			groups = "tdma_sclk",
				"tdma_fs";
			function = "tdma_out";
		};
	};

	tdmout_a_data: tdmout_a_data {
		mux {
			groups = "tdma_dout1_x15";
			function = "tdma_out";
		};
	};

	tdmin_a: tdmin_a {
		mux {
			groups = "tdma_din0";
			function = "tdma_in";
		};
	};

	tdmb_mclk: tdmb_mclk {
		mux {
			groups = "mclk_b";
			function = "mclk_b";
		};
	};

	tdmout_b: tdmout_b {
		mux {
			groups = "tdmb_sclk",
				"tdmb_fs";
			function = "tdmb_out";
		};
	};
	// tdmin and tdmout are the same pins. can't use at same time
	tdmin_b:tdmin_b {
		mux {
			groups = "tdmb_din0",
				"tdmb_din1",
				"tdmb_din2_a12",
				"tdmb_din3_a13";
			function = "tdmb_in";
		};
	};

	tdmc_mclk: tdmc_mclk {
		mux {
			groups = "mclk_a";
			function = "mclk_a";
		};
	};

	tdmout_c:tdmout_c {
		mux {
			groups = "tdmc_sclk",
				"tdmc_fs",
				"tdmc_dout0",
				"tdmc_dout2_a6",
				"tdmc_dout3_a7";
			function = "tdmc_out";
		};
	};

	tdmin_c:tdmin_c {
		mux {
			groups = "tdmc_din1";
			function = "tdmc_in";
		};
	};

	spdifout: spidfout {
		mux {
			groups = "spdif_out_a20";
			function = "spdif_out";
		};
	};

	spdifin: spidfin {
		mux {
			groups = "spdif_in_a19";
			function = "spdif_in";
		};
	};

	pdmin: pdmin {
		mux {
			groups = "pdm_dclk_a14",
				"pdm_din0",
				"pdm_din1",
				"pdm_din2",
				"pdm_din3";
			function = "pdm";
		};
	};

	bl_pwm_on_pins: bl_pwm_on_pin {
		mux {
			groups = "pwm_b_z";
			function = "pwm_b";
		};
	};
	bl_pwm_off_pins:bl_pwm_off_pin {
		mux {
			pins = "GPIOZ_4";
			function = "gpio_periphs";
			output-high;
		};
	};
}; /* end of pinctrl_periphs */
/* Audio Related End */

&aobus{
	uart_AO: serial@3000 {
		compatible = "amlogic, meson-uart";
		reg = <0x0 0x3000 0x0 0x18>;
		interrupts = <0 193 1>;
		status = "okay";
		clocks = <&xtal>;
		clock-names = "clk_uart";
		xtal_tick_en = <0>;
		fifosize = < 64 >;
		//pinctrl-names = "default";
		//pinctrl-0 = <&ao_uart_pins>;
		support-sysrq = <0>;	/* 0 not support , 1 support */
	};

	uart_AO_B: serial@4000 {
		compatible = "amlogic, meson-uart";
		reg = <0x0 0x4000 0x0 0x18>;
		interrupts = <0 197 1>;
		status = "disable";
		clocks = <&xtal>;
		clock-names = "clk_uart";
		fifosize = < 64 >;
		pinctrl-names = "default";
		pinctrl-0 = <&ao_b_uart_pins>;
	};
};

&mtd_nand {
	status = "okay";
	#address-cells = <1>;
	#size-cells = <0>;

	bl_mode = <1>;
	fip_copies = <4>;
	fip_size = <0x200000>;
	ship_bad_block = <1>;
	disa_irq_flag = <1>;

	nand@bootloader {
		reg = <0>;
		#address-cells = <1>;
		#size-cells = <1>;
		nand-ecc-maximize;
		partition@0 {
			label = "bootloader";
			reg = <0x0 0x00000000>;
		};
	};
	nand@normal {
		reg = <0>;
		#address-cells = <1>;
		#size-cells = <1>;
		nand-ecc-maximize;

		partition@0 {
			label = "tpl";
			reg = <0x0 0x00000000>;
		};
		partition@1 {
			label = "misc";
			reg = <0x0 0x00200000>;
		};
		partition@2 {
			label = "logo";
			reg = <0x0 0x00200000>;
		};
		partition@3 {
			label = "recovery";
			reg = <0x0 0x1000000>;
		};
		partition@4 {
			label = "boot";
			reg = <0x0 0x0F00000>;
		};
		partition@5 {
			label = "system";
			reg = <0x0 0x11800000>;
		};
		partition@6 {
			label = "data";
			reg = <0x0 0xffffffff>;
		};
	};
};

&audio_data{
	status = "disabled";
};
